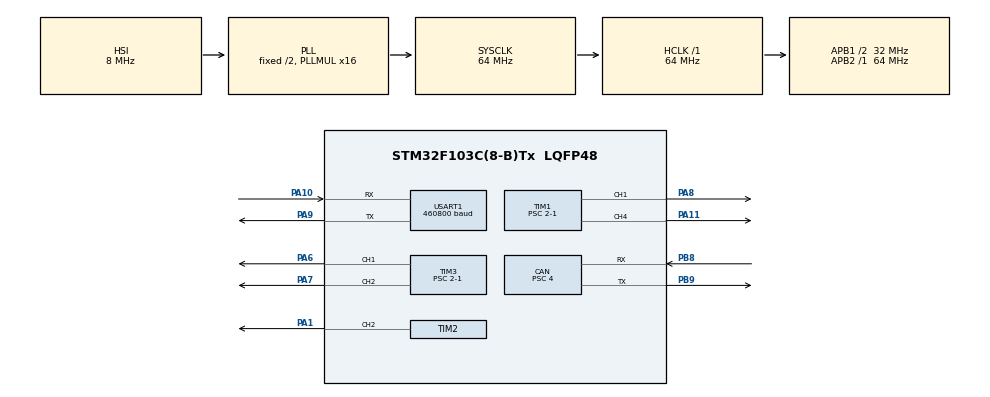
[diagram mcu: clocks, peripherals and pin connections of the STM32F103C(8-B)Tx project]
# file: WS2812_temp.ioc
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CAN.ABOM=ENABLE
CAN.AWUM=DISABLE
CAN.BS1=CAN_BS1_5TQ
CAN.BS2=CAN_BS2_2TQ
CAN.CalculateBaudRate=1000000
CAN.CalculateTimeBit=1000
CAN.CalculateTimeQuantum=125.0
CAN.NART=ENABLE
CAN.Prescaler=4
CAN.TTCM=DISABLE
Dma.Request0=TIM1_CH1
Dma.Request1=USART1_RX
Dma.Request2=TIM2_CH2/CH4
Dma.TIM1_CH1.0.Direction=DMA_MEMORY_TO_PERIPH
Dma.TIM1_CH1.0.Instance=DMA1_Channel2
Dma.TIM1_CH1.0.MemDataAlignment=DMA_MDATAALIGN_HALFWORD
Dma.TIM1_CH1.0.MemInc=DMA_MINC_ENABLE
Dma.TIM1_CH1.0.Mode=DMA_NORMAL
Dma.TIM1_CH1.0.PeriphDataAlignment=DMA_PDATAALIGN_HALFWORD
Dma.TIM1_CH1.0.PeriphInc=DMA_PINC_DISABLE
Dma.TIM1_CH1.0.Priority=DMA_PRIORITY_VERY_HIGH
Dma.TIM2_CH2/CH4.2.Direction=DMA_MEMORY_TO_PERIPH
Dma.TIM2_CH2/CH4.2.Instance=DMA1_Channel7
Dma.TIM2_CH2/CH4.2.MemDataAlignment=DMA_MDATAALIGN_HALFWORD
Dma.TIM2_CH2/CH4.2.MemInc=DMA_MINC_ENABLE
Dma.TIM2_CH2/CH4.2.Mode=DMA_NORMAL
Dma.TIM2_CH2/CH4.2.PeriphDataAlignment=DMA_PDATAALIGN_HALFWORD
Dma.TIM2_CH2/CH4.2.PeriphInc=DMA_PINC_DISABLE
Dma.TIM2_CH2/CH4.2.Priority=DMA_PRIORITY_VERY_HIGH
Dma.USART1_RX.1.Direction=DMA_PERIPH_TO_MEMORY
Dma.USART1_RX.1.Instance=DMA1_Channel5
Dma.USART1_RX.1.MemDataAlignment=DMA_MDATAALIGN_BYTE
Dma.USART1_RX.1.MemInc=DMA_MINC_ENABLE
Dma.USART1_RX.1.Mode=DMA_CIRCULAR
Dma.USART1_RX.1.PeriphDataAlignment=DMA_PDATAALIGN_BYTE
Dma.USART1_RX.1.PeriphInc=DMA_PINC_DISABLE
Dma.USART1_RX.1.Priority=DMA_PRIORITY_VERY_HIGH
Mcu.Family=STM32F1
Mcu.Name=STM32F103C(8-B)Tx
Mcu.Package=LQFP48
NVIC.CAN1_RX1_IRQn=true\:0\:0\:false\:false\:true\:true\:true\:true
NVIC.DMA1_Channel2_IRQn=true\:0\:0\:false\:false\:true\:false\:true\:true
NVIC.DMA1_Channel5_IRQn=true\:0\:0\:false\:false\:true\:false\:true\:true
NVIC.DMA1_Channel7_IRQn=true\:0\:0\:false\:false\:true\:false\:true\:true
NVIC.PriorityGroup=NVIC_PRIORITYGROUP_4
NVIC.USART1_IRQn=true\:0\:0\:false\:false\:true\:true\:true\:true
NVIC.USB_LP_CAN1_RX0_IRQn=true\:0\:0\:false\:false\:true\:true\:true\:true
PA1.Signal=S_TIM2_CH2
PA10.Mode=Asynchronous
PA10.Signal=USART1_RX
PA11.Signal=S_TIM1_CH4
PA13.Mode=Serial_Wire
PA13.Signal=SYS_JTMS-SWDIO
PA14.Mode=Serial_Wire
PA14.Signal=SYS_JTCK-SWCLK
PA6.Signal=S_TIM3_CH1
PA7.Signal=S_TIM3_CH2
PA8.Signal=S_TIM1_CH1
PA9.Mode=Asynchronous
PA9.Signal=USART1_TX
PB8.Mode=CAN_Activate
PB8.Signal=CAN_RX
PB9.Mode=CAN_Activate
PB9.Signal=CAN_TX
ProjectManager.HeapSize=0x200
ProjectManager.StackSize=0x400
ProjectManager.TargetToolchain=CMake
RCC.AHBFreq_Value=64000000
RCC.APB1CLKDivider=RCC_HCLK_DIV2
RCC.APB1Freq_Value=32000000
RCC.APB1TimFreq_Value=64000000
RCC.APB2Freq_Value=64000000
RCC.APB2TimFreq_Value=64000000
RCC.HCLKFreq_Value=64000000
RCC.HSE_VALUE=12000000
RCC.PLLMUL=RCC_PLL_MUL16
RCC.SYSCLKFreq_VALUE=64000000
RCC.SYSCLKSource=RCC_SYSCLKSOURCE_PLLCLK
RCC.USBFreq_Value=64000000
SH.S_TIM1_CH1.0=TIM1_CH1,PWM Generation1 CH1
SH.S_TIM1_CH4.0=TIM1_CH4,PWM Generation4 CH4
SH.S_TIM2_CH2.0=TIM2_CH2,PWM Generation2 CH2
SH.S_TIM3_CH1.0=TIM3_CH1,PWM Generation1 CH1
SH.S_TIM3_CH2.0=TIM3_CH2,PWM Generation2 CH2
TIM1.Channel-PWM\ Generation1\ CH1=TIM_CHANNEL_1
TIM1.Channel-PWM\ Generation4\ CH4=TIM_CHANNEL_4
TIM1.Period=45-1
TIM1.Prescaler=2-1
TIM2.Channel-PWM\ Generation2\ CH2=TIM_CHANNEL_2
TIM2.Period=45-1
TIM2.Prescaler=2-1
TIM3.Channel-PWM\ Generation1\ CH1=TIM_CHANNEL_1
TIM3.Channel-PWM\ Generation2\ CH2=TIM_CHANNEL_2
TIM3.Period=45-1
TIM3.Prescaler=2-1
USART1.BaudRate=460800
USART1.VirtualMode=VM_ASYNC
board=custom

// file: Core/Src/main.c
/* USER CODE BEGIN Header */
/**
  ******************************************************************************
  * @file           : main.c
  * @brief          : Main program body
  ******************************************************************************
  * @attention
  *
  * Copyright (c) 2024 STMicroelectronics.
  * All rights reserved.
  *
  * This software is licensed under terms that can be found in the LICENSE file
  * in the root directory of this software component.
  * If no LICENSE file comes with this software, it is provided AS-IS.
  *
  ******************************************************************************.
  */
/* USER CODE END Header */
#include "main.h"
#include "can.h"
#include "dma.h"
#include "stm32f1xx_hal.h"
#include "tim.h"
#include "usart.h"
#include "gpio.h"

/* USER CODE BEGIN Includes */
#include "WS2812.h"  // WS2812灯带驱动
#include "can_portocal_second.hpp"  // CAN通信协议解析和封装 定义 CAN ID、控制命令和状态数据结构
#include "Flag_State.h"  // 初始化 CAN 命令和反馈状态
#include "bsp_can.hpp"  // CAN总线初始化和发送接收函数
#include "bsp_usart.hpp"  // 串口初始化和发送接收函数 压力数据的 USART DMA 接收和解析
#include "bsp.hpp"
#include <stdbool.h>
/* USER CODE END Includes */

/* USER CODE BEGIN PTD */
#define WS1 33  // 逻辑 1 对应的 PWM 高电平宽度
#define WS0 12  // 逻辑 0 对应的 PWM 高电平宽度
// #define BOARD_NUMBER 1//TODO:修改为对应板子编号，0~4
//HINT:BOARD_NUMBER 已迁移到 can_portocal_second.hpp 统一配置，烧哪块改哪块即可
#define PRESS_THRESHOLD 30//TODO:检测修改阈值
/* USER CODE END PTD */

/* USER CODE BEGIN PD */

// 状态标记数组，对应10个环，防止按住不放时重复触发
// 0: 当前未被锁定，可以触发, 1: 已经触发，必须先释放才能再次触发  一次持续按压不能被重复计算
static uint8_t sensor_active_flags[10] = {0};
static uint8_t last_work_state=255;//用来记录上一次指令 保存上一次执行的 Board_Work
int record=0;
int used_time=0;
// char one_ring=1;
// char two_ring=1;
// char three_ring=1;
// char four_ring=1;
// char five_ring=1;
// char six_ring=1;
// char seven_ring=1;
// char eight_ring=1;
// char nine_ring=1;
// char ten_ring=1;
int hit_ring[10]={1,1,1,1,1,1,1,1,1,1}; //锁定环，1为未击打，0为已击打
Board_info_t Board_info[5];  // 保存 5 块板的在线/离线相关状态，但当前主循环没有使用它
Board_Order_info_t Board_Order_info[5];  // 保存 5 块板的指令状态，Board_Work 字段表示当前指令，Board_Work=11 表示待击打状态
Big_Fu_info_t Big_Fu_info[5];
uint8_t can_rx_Data[8]={0};
uint8_t can_Dafu_data[8]={0};

Pressure_Packet_t adc_data_debug;
/* USER CODE END PD */

void SystemClock_Config(void);
/* USER CODE BEGIN PFP */
//发出一块板的是否击中和击中环数
void Process_Pressure_Data(void)
{
	if (Pressure_Updated_Flag == 0) return;
    Pressure_Updated_Flag = 0;
    //HINT去掉了待击打状态才处理数据，这样可以检测是否错误击打
  // if(Board_Order_info[BOARD_NUMBER].Board_Work!=11)return;//只有在待击打状态下才处理压力数据
  uint8_t max_pressure = 0;
  int8_t max_index = -1;
	for(int i=0;i<10;i++)
	{
		uint8_t current_pressure = Current_Pressure.adc_data[i];
    memcpy(adc_data_debug.adc_data,Current_Pressure.adc_data,sizeof(Current_Pressure.adc_data));//debug的
    if(current_pressure <= PRESS_THRESHOLD && sensor_active_flags[i] == 1)
    {
      sensor_active_flags[i] = 0; // 传感器恢复未触发状态，解锁

}else if (current_pressure > PRESS_THRESHOLD && sensor_active_flags[i] == 0)//超过阈值且没有被锁定
		{

      sensor_active_flags[i] = 1; // 锁住这个传感器防止连发
      if(current_pressure >max_pressure)
      {
        max_pressure = current_pressure;
        max_index = i;
      }//寻优并记录环数
	}

}
if(max_index != -1)
{
  switch (max_index)//寻找实际该亮的环数
  {
case 0:
max_index = 4;
break;
case 1:
max_index = 3;
break;
case 2:
max_index = 2;
break;
case 3:
max_index = 1;
break;
case 4:
max_index = 0;
break;
case 5:
max_index = 9;
break;
case 6:
max_index = 8;
break;
case 7:
max_index = 7;
break;
case 8:
max_index = 6;
break;
case 9:
max_index = 5;
break;
default:
break;
  }
    hit_ring[max_index]=0;//该环已被击打
			// 触发事件处理代码：特定环变成0，特定板子的击打次数+1，状态置1
			Big_Fu_info[BOARD_NUMBER].Single_Hit_State = 1;
      Big_Fu_info[BOARD_NUMBER].Hit_LED_state = max_index+1;//记录击中环数
			Board_Info_Tx(can_Dafu_data,Big_Fu_info);//发送给主板
      //HINT:加入了顺手清零
      Big_Fu_info[BOARD_NUMBER].Single_Hit_State = 0;
}
}

/* USER CODE END PFP */

int main(void)
{

  /* MCU Configuration--------------------------------------------------------*/

  /* Reset of all peripherals, Initializes the Flash interface and the Systick. */
  HAL_Init();

  /* Configure the system clock */
  SystemClock_Config();

  /* Initialize all configured peripherals */
  MX_GPIO_Init();
  MX_DMA_Init();
  MX_TIM2_Init();
  MX_TIM1_Init();
  MX_TIM3_Init();
  MX_CAN_Init();
  MX_USART1_UART_Init();
  /* USER CODE BEGIN 2 */
	CAN_Init();
	Big_Fu_info_Init(Big_Fu_info);
	Board_Order_info_Init(Board_Order_info);
	// WS2812_close_all();
	extern UART_HandleTypeDef huart1;
	Pressure_DMA_Init(&huart1);
	HAL_Delay(10);
//	uint8_t test_msg[8] = {1, 2, 3, 4, 5, 6, 7, 8};//测试帧：往 0x302 广播垃圾数据，三板组网后禁用
//	CAN_Transmit(&hcan, CAN_BOARD_ID_2_F, test_msg, 8);

  /* USER CODE END 2 */

  /* Infinite loop */
  /* USER CODE BEGIN WHILE */
  while (1)
  {
// WS_Write_RGB_TEN_RINGS(200,0,0);//击打成功十环
// HAL_Delay(1000);
// WS2812_close_all();
// HAL_Delay(1000);
    Pressure_Task_Loop();
		Process_Pressure_Data();

		// Board_Order_info[BOARD_NUMBER].Board_Work=2;//测试代码

    uint8_t current_cmd = Board_Order_info[BOARD_NUMBER].Board_Work;
		if(current_cmd!=last_work_state && WS2812_DisplayReady())
    {
      /* Relay is energized only for the selected target state. */
      HAL_GPIO_WritePin(GPIOA, GPIO_PIN_0,
          current_cmd == BOARD_DISPLAY_TARGET_ARROW ?
          GPIO_PIN_RESET : GPIO_PIN_SET);
      WS2812_ArrowStop();
      switch(current_cmd)
      {
        case 0:
          WS2812_close_all();
          // WS2812_close_Rectangle();
          for(int i=0;i<10;i++)sensor_active_flags[i]=0;//解锁传感器
          break;
        case 1:
          WS_Write_RGB_ONE_RINGS(200,0,0);//击打成功一环
          // WS2812_close_Rectangle();
          break;
        case 2:
          WS_Write_RGB_TWO_RINGS(200,0,0);//击打成功二环
          // WS2812_close_Rectangle();
          break;
        case 3:
          WS_Write_RGB_THREE_RINGS(200,0,0);//击打成功三环
          // WS2812_close_Rectangle();
          break;
        case 4:
          WS_Write_RGB_FOUR_RINGS(200,0,0);//击打成功四环
          // WS2812_close_Rectangle();
          break;
        case 5:
          WS_Write_RGB_FIVE_RINGS(200,0,0);//击打成功五环
          // WS2812_close_Rectangle();
          break;
        case 6:
          WS_Write_RGB_SIX_RINGS(200,0,0);//击打成功六环
          // WS2812_close_Rectangle();
          break;
        case 7:
          WS_Write_RGB_SEVEN_RINGS(200,0,0);//击打成功七环
          // WS2812_close_Rectangle();
          break;
        case 8:
          WS_Write_RGB_EIGHT_RINGS(200,0,0);//击打成功八环
          // WS2812_close_Rectangle();
          break;
        case 9:
          WS_Write_RGB_NINE_RINGS(200,0,0);//击打成功九环
          // WS2812_close_Rectangle();
          break;
        case 10:
          WS_Write_RGB_TEN_RINGS(200,0,0);//击打成功十环
          // WS2812_close_Rectangle();
          break;
        case BOARD_DISPLAY_TARGET_ARROW:
          /* Target image is selected by the relay, not TIM2 WS2812. */
          WS2812_ArrowStart(50, 0, 0);
          break;
        case BOARD_DISPLAY_BLACK_HALF_RED:
          WS2812_ArrowShowLeftHalfRed(50);
          break;

      }
      last_work_state=current_cmd;
    }
    // 旧版阻塞式调用，留作参考
    // if(current_cmd == 11)
    // {
    //   WS_Write_arrow_flow_LED(50,0,0);
    // }

		// 内部自行判断状态、时间和DMA忙状态
		WS2812_ArrowTask();
    HAL_Delay(1);
	}

    /* USER CODE END WHILE */

  }

void SystemClock_Config(void)
{
  RCC_OscInitTypeDef RCC_OscInitStruct = {0};
  RCC_ClkInitTypeDef RCC_ClkInitStruct = {0};

  /** Initializes the RCC Oscillators according to the specified parameters
  * in the RCC_OscInitTypeDef structure.
  */
  RCC_OscInitStruct.OscillatorType = RCC_OSCILLATORTYPE_HSI;
  RCC_OscInitStruct.HSIState = RCC_HSI_ON;
  RCC_OscInitStruct.HSICalibrationValue = RCC_HSICALIBRATION_DEFAULT;
  RCC_OscInitStruct.PLL.PLLState = RCC_PLL_ON;
  RCC_OscInitStruct.PLL.PLLSource = RCC_PLLSOURCE_HSI_DIV2;
  RCC_OscInitStruct.PLL.PLLMUL = RCC_PLL_MUL16;
  if (HAL_RCC_OscConfig(&RCC_OscInitStruct) != HAL_OK)
  {
    Error_Handler();
  }

  /** Initializes the CPU, AHB and APB buses clocks
  */
  RCC_ClkInitStruct.ClockType = RCC_CLOCKTYPE_HCLK|RCC_CLOCKTYPE_SYSCLK
                              |RCC_CLOCKTYPE_PCLK1|RCC_CLOCKTYPE_PCLK2;
  RCC_ClkInitStruct.SYSCLKSource = RCC_SYSCLKSOURCE_PLLCLK;
  RCC_ClkInitStruct.AHBCLKDivider = RCC_SYSCLK_DIV1;
  RCC_ClkInitStruct.APB1CLKDivider = RCC_HCLK_DIV2;
  RCC_ClkInitStruct.APB2CLKDivider = RCC_HCLK_DIV1;

  if (HAL_RCC_ClockConfig(&RCC_ClkInitStruct, FLASH_LATENCY_2) != HAL_OK)
  {
    Error_Handler();
  }
}

void Error_Handler(void)
{
  __disable_irq();
  while (1)
  {
  }
}
